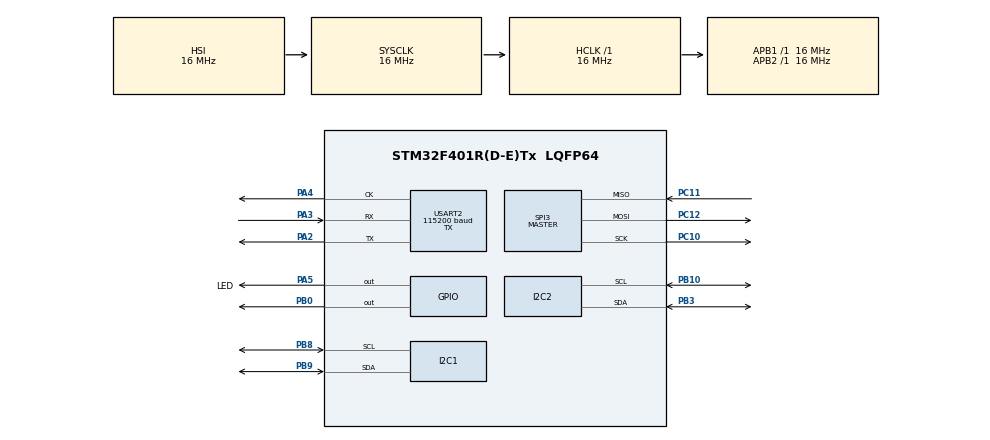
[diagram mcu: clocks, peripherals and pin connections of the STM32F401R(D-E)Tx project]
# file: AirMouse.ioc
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FREERTOS.Queues01=EventQueue,16,char,0,Dynamic,NULL,NULL
FREERTOS.Tasks01=readTask,25,512,StartReadTask,Default,NULL,Dynamic,NULL,NULL;commandTask,24,512,StartCommandTask,Default,NULL,Dynamic,NULL,NULL;SDTask,26,512,StartSDTask,Default,NULL,Dynamic,NULL,NULL
FREERTOS.Timers01=clickTimer,clickCallback,osTimerOnce,Default,NULL,Dynamic,NULL;timerZoom,zoomCallback,osTimerOnce,Default,NULL,Dynamic,NULL;moveTimer,moveTimerCallback,osTimerOnce,Default,NULL,Dynamic,NULL;altTabTimer,altTabCallback,osTimerOnce,Default,NULL,Dynamic,NULL
FREERTOS.configTIMER_TASK_PRIORITY=55
FREERTOS.configUSE_NEWLIB_REENTRANT=1
FREERTOS.configUSE_PREEMPTION=0
I2C1.I2C_Mode=I2C_Fast
I2C2.I2C_Mode=I2C_Fast
Mcu.Family=STM32F4
Mcu.Name=STM32F401R(D-E)Tx
Mcu.Package=LQFP64
NVIC.PriorityGroup=NVIC_PRIORITYGROUP_4
NVIC.TIM1_BRK_TIM9_IRQn=true\:15\:0\:false\:false\:true\:false\:false\:true\:true
NVIC.TimeBase=TIM1_BRK_TIM9_IRQn
NVIC.TimeBaseIP=TIM9
PA2.Mode=Synchronous
PA2.Signal=USART2_TX
PA3.Mode=Synchronous
PA3.Signal=USART2_RX
PA4.Mode=Synchronous
PA4.Signal=USART2_CK
PA5.GPIO_Label=LED
PA5.Signal=GPIO_Output
PB0.Signal=GPIO_Output
PB10.Mode=I2C
PB10.Signal=I2C2_SCL
PB3.Mode=I2C
PB3.Signal=I2C2_SDA
PB8.Mode=I2C
PB8.Signal=I2C1_SCL
PB9.Mode=I2C
PB9.Signal=I2C1_SDA
PC10.Mode=Full_Duplex_Master
PC10.Signal=SPI3_SCK
PC11.Mode=Full_Duplex_Master
PC11.Signal=SPI3_MISO
PC12.Mode=Full_Duplex_Master
PC12.Signal=SPI3_MOSI
ProjectManager.HeapSize=0x200
ProjectManager.StackSize=0x400
ProjectManager.TargetToolchain=STM32CubeIDE
RCC.AHBFreq_Value=16000000
RCC.APB1Freq_Value=16000000
RCC.APB2Freq_Value=16000000
RCC.CortexFreq_Value=16000000
RCC.HSE_VALUE=25000000
RCC.HSI_VALUE=16000000
RCC.LSE_VALUE=32768
RCC.SYSCLKFreq_VALUE=16000000
RCC.VCOOutputFreq_Value=192000000
SPI3.Direction=SPI_DIRECTION_2LINES
SPI3.Mode=SPI_MODE_MASTER
SPI3.VirtualType=VM_MASTER
USART2.BaudRate=115200
USART2.Mode=MODE_TX
USART2.VirtualMode=VM_SYNC
VP_FATFS_VS_Generic.Mode=User_defined
VP_FREERTOS_VS_CMSIS_V2.Mode=CMSIS_V2
VP_SYS_VS_tim9.Mode=TIM9
board=custom

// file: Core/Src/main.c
/* USER CODE BEGIN Header */
/**
 ******************************************************************************
 * @file           : main.c
 * @brief          : Main program body
 ******************************************************************************
 * @attention
 *
 * Copyright (c) 2022 STMicroelectronics.
 * All rights reserved.
 *
 * This software is licensed under terms that can be found in the LICENSE file
 * in the root directory of this software component.
 * If no LICENSE file comes with this software, it is provided AS-IS.
 *
 ******************************************************************************
 */
/* USER CODE END Header */
#include "main.h"
#include "cmsis_os.h"
#include "fatfs.h"
#include "i2c.h"
#include "spi.h"
#include "usart.h"
#include "gpio.h"

/* USER CODE BEGIN Includes */
#include "mpu6050.h"
#include "ds3231.h"
#include "File_Handling_RTOS.h"
#include "printf.h"
/* USER CODE END Includes */

/* USER CODE BEGIN PV */

/* Variables of the two MPU6050 on index hand and thumb */
MPU6050 mpu_ind;
MPU6050 mpu_pol;

/* Useful variables for file management declared in File_Handling_RTOS.c */
extern FIL fil; // File
extern UINT br, bw;  // File read/write count

/* USER CODE END PV */

void SystemClock_Config(void);
void MX_FREERTOS_Init(void);

int main(void)
{

  /* MCU Configuration--------------------------------------------------------*/

  /* Reset of all peripherals, Initializes the Flash interface and the Systick. */
  HAL_Init();

  /* Configure the system clock */
  SystemClock_Config();

  /* Initialize all configured peripherals */
  MX_GPIO_Init();
  MX_I2C1_Init();
  MX_USART2_Init();
  MX_I2C2_Init();
  MX_SPI3_Init();
  MX_FATFS_Init();
  /* USER CODE BEGIN 2 */

	/* Wait for system inizialization */
	HAL_Delay(2000);
	/* Mount the SD card */
	while (Mount_SD("/") != FR_OK);
	/* Initialize the DS3231 RTC on I2C2 */
	while (rtc_init(&hi2c2) != DS3231_OK);
	/* Initialize the MPU6050 on index hand on I2C1 */
	while (MPU6050_Init(&hi2c1, &mpu_ind, MPU6050_Device_0,
			MPU6050_Accelerometer_16G, MPU6050_Gyroscope_250s)
			!= MPU6050_Result_Ok);
	/* Initialize the MPU6050 on thumb on I2C1 */
	while (MPU6050_Init(&hi2c1, &mpu_pol, MPU6050_Device_1,
			MPU6050_Accelerometer_16G, MPU6050_Gyroscope_250s)
			!= MPU6050_Result_Ok);
	/* Get the current time from RTC and create a log file named as "dd_mm_yy.TXT" */
	date_time_t datetime;
	rtc_get_date_time(&datetime);
	char filename[50];
	sprintf(filename, "%d_%d_%d.TXT", datetime.date, datetime.month, datetime.year);
	while (Create_File(filename) != FR_OK);
	/* Open the file created for command log on SD card */
	while (f_open(&fil, filename, FA_OPEN_APPEND | FA_WRITE) != FR_OK) {
		char buf[60];
		sprintf(buf, "ERROR!!! *%s* does not exists\n\n", filename);
		HAL_USART_Transmit(&husart2, (uint8_t*) buf, sizeof(char) * strlen(buf),
		HAL_MAX_DELAY);
	}
	/* Turn on the pin on MCU in order to nofity the correct end of the inizialization phase */
	HAL_GPIO_WritePin(LED_GPIO_Port, LED_Pin, 1);

  /* USER CODE END 2 */

  /* Init scheduler */
  osKernelInitialize();  /* Call init function for freertos objects (in freertos.c) */
  MX_FREERTOS_Init();

  /* Start scheduler */
  osKernelStart();

  /* We should never get here as control is now taken by the scheduler */
  /* Infinite loop */
	while (1) {

	}
}

void SystemClock_Config(void)
{
  RCC_OscInitTypeDef RCC_OscInitStruct = {0};
  RCC_ClkInitTypeDef RCC_ClkInitStruct = {0};

  /** Configure the main internal regulator output voltage
  */
  __HAL_RCC_PWR_CLK_ENABLE();
  __HAL_PWR_VOLTAGESCALING_CONFIG(PWR_REGULATOR_VOLTAGE_SCALE2);

  /** Initializes the RCC Oscillators according to the specified parameters
  * in the RCC_OscInitTypeDef structure.
  */
  RCC_OscInitStruct.OscillatorType = RCC_OSCILLATORTYPE_HSI;
  RCC_OscInitStruct.HSIState = RCC_HSI_ON;
  RCC_OscInitStruct.HSICalibrationValue = RCC_HSICALIBRATION_DEFAULT;
  RCC_OscInitStruct.PLL.PLLState = RCC_PLL_NONE;
  if (HAL_RCC_OscConfig(&RCC_OscInitStruct) != HAL_OK)
  {
    Error_Handler();
  }

  /** Initializes the CPU, AHB and APB buses clocks
  */
  RCC_ClkInitStruct.ClockType = RCC_CLOCKTYPE_HCLK|RCC_CLOCKTYPE_SYSCLK
                              |RCC_CLOCKTYPE_PCLK1|RCC_CLOCKTYPE_PCLK2;
  RCC_ClkInitStruct.SYSCLKSource = RCC_SYSCLKSOURCE_HSI;
  RCC_ClkInitStruct.AHBCLKDivider = RCC_SYSCLK_DIV1;
  RCC_ClkInitStruct.APB1CLKDivider = RCC_HCLK_DIV1;
  RCC_ClkInitStruct.APB2CLKDivider = RCC_HCLK_DIV1;

  if (HAL_RCC_ClockConfig(&RCC_ClkInitStruct, FLASH_LATENCY_0) != HAL_OK)
  {
    Error_Handler();
  }
}

void HAL_TIM_PeriodElapsedCallback(TIM_HandleTypeDef *htim)
{
  if (htim->Instance == TIM9) {
    HAL_IncTick();
  }
}

void Error_Handler(void)
{
	__disable_irq();
	while (1) {
	}
}

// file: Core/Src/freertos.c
/* USER CODE BEGIN Header */
/**
 ******************************************************************************
 * File Name          : freertos.c
 * Description        : Code for freertos applications
 ******************************************************************************
 * @attention
 *
 * Copyright (c) 2022 STMicroelectronics.
 * All rights reserved.
 *
 * This software is licensed under terms that can be found in the LICENSE file
 * in the root directory of this software component.
 * If no LICENSE file comes with this software, it is provided AS-IS.
 *
 ******************************************************************************
 */
/* USER CODE END Header */

#include "FreeRTOS.h"
#include "task.h"
#include "main.h"
#include "cmsis_os.h"

/* USER CODE BEGIN Includes */
#include "mpu6050.h"
#include "string.h"
#include "printf.h"
#include "math.h"
#include "ds3231.h"
#include "File_Handling_RTOS.h"
/* USER CODE END Includes */

/* USER CODE BEGIN Variables */

/* Variables of the two MPU6050 on index hand and thumb declared in main.c */
extern MPU6050 mpu_ind;
extern MPU6050 mpu_pol;

/* Extern variables for I2C and USART ports */
extern USART_HandleTypeDef husart2;
extern I2C_HandleTypeDef hi2c1;

/* Useful variables for file management declared in File_Handling_RTOS.c */
extern FIL fil; // File
extern UINT br, bw;  // File read/write count

/******* ALT + TAB ********/
/* ALT_TAB_flag is 1 when we are in ALT+TAB modality (vertical hand), 0 otherwise. It is used
 * when we want to know if we are in ALT+TAB mode or not. */
uint8_t ALT_TAB_flag = 0;
/* ALT_TAB_move is always 1, except when we pass from ALT+TAB mode to normal mode. It is used
 * when we don't want to move our mouse when we pass from ALT+TAB mode to normal mode. */
uint8_t ALT_TAB_move = 1;

/********* CLICKS *********/
/* numClick is an integer variable that counts the number of clicks occurred in a period. */
uint8_t numClick = 0;
/* clickFlag is 1 when we are in click phase and we don't want to move our mouse, 0 otherwise. */
uint8_t clickFlag = 0;
/* moveFlag is 1 when we have already detected 1 click and we don't want to move our mouse
 * because there is a chance for a double click */
uint8_t moveFlag = 1;

/******** ZOOM ********/
/* numZoom is an integer variable that counts the number of zoom command occurred in a period. */
uint8_t numZoom = 0;
/* zoomFlag is 1 when we are in zoom phase and we don't want to move our mouse, 0 otherwise. */
uint8_t zoomFlag = 0;

/* This variables is setted by the click and zoom callbacks to log click, double click, zoom in and
 * zoom out.
 * logEvent=1 --> log a click
 * logEvent=2 --> log a double click
 * logEvent=3 --> log a zoom in
 * logEvent=4 --> log a zoom out
 * */
int8_t logEvent = -1;

/* Log's string length */
#define LOG_STRING_LEN 200

/* USER CODE END Variables */
/* Definitions for readTask */
osThreadId_t readTaskHandle;
const osThreadAttr_t readTask_attributes = {
  .name = "readTask",
  .stack_size = 512 * 4,
  .priority = (osPriority_t) osPriorityNormal1,
};
/* Definitions for commandTask */
osThreadId_t commandTaskHandle;
const osThreadAttr_t commandTask_attributes = {
  .name = "commandTask",
  .stack_size = 512 * 4,
  .priority = (osPriority_t) osPriorityNormal,
};
/* Definitions for SDTask */
osThreadId_t SDTaskHandle;
const osThreadAttr_t SDTask_attributes = {
  .name = "SDTask",
  .stack_size = 512 * 4,
  .priority = (osPriority_t) osPriorityNormal2,
};
/* Definitions for EventQueue */
osMessageQueueId_t EventQueueHandle;
const osMessageQueueAttr_t EventQueue_attributes = {
  .name = "EventQueue"
};
/* Definitions for clickTimer */
osTimerId_t clickTimerHandle;
const osTimerAttr_t clickTimer_attributes = {
  .name = "clickTimer"
};
/* Definitions for timerZoom */
osTimerId_t timerZoomHandle;
const osTimerAttr_t timerZoom_attributes = {
  .name = "timerZoom"
};
/* Definitions for moveTimer */
osTimerId_t moveTimerHandle;
const osTimerAttr_t moveTimer_attributes = {
  .name = "moveTimer"
};
/* Definitions for altTabTimer */
osTimerId_t altTabTimerHandle;
const osTimerAttr_t altTabTimer_attributes = {
  .name = "altTabTimer"
};

/* USER CODE BEGIN FunctionPrototypes */

/* This function is used to log a relative movement of the mouse with x and y as values in their respective axes.*/
void logMovement(int x, int y) {
	char log[LOG_STRING_LEN];
	/* Get the current timestamp and print the string */
	date_time_t datetime;
	rtc_get_date_time(&datetime);
	sprintf(log,
			"[%d-%d-%d - %d:%d:%d]\tEVENT: relative movement x:%d y:%d\t========\tAcc. Values: {T: %.2f, %.2f, %.2f, %.2f, %.2f, %.2f || I: %.2f, %.2f, %.2f, %.2f, %.2f, %.2f}\n",
			datetime.date, datetime.month, datetime.year, datetime.hours,
			datetime.minutes, datetime.seconds, x, y, mpu_pol.accelerometer_X,
			mpu_pol.accelerometer_Y, mpu_pol.accelerometer_Z,
			mpu_pol.gyroscope_X, mpu_pol.gyroscope_Y, mpu_pol.gyroscope_Z,
			mpu_ind.accelerometer_X, mpu_ind.accelerometer_Y,
			mpu_ind.accelerometer_Z, mpu_ind.gyroscope_X, mpu_ind.gyroscope_Y,
			mpu_ind.gyroscope_Z);
	/* Insert the string into the queue */
	if (osMessageQueuePut(EventQueueHandle, (void*) &log, 0U, 0U) != osOK) {
		HAL_USART_Transmit(&husart2, (uint8_t*) "QUEUE INSERT ERROR\n",
				sizeof(char) * strlen("QUEUE INSERT ERROR\n"), HAL_MAX_DELAY);
	}
}

/*
 * This function is used to log a gesture codified with an event parameter according to the values:
 * 1 -> left click
 * 2 -> double click
 * 3 -> zoom in
 * 4 -> zoom out
 * 5 -> ALT+TAB
 * 6 -> ALT+TAB windows switch
 * 7 -> ALT+TAB release
 * */
void logGestures(int event) {
	char log[LOG_STRING_LEN];
	date_time_t datetime;
	rtc_get_date_time(&datetime);
	char eventString[50];

	if (event == 1) {
		sprintf(eventString, "left click");
	} else if (event == 2) {
		sprintf(eventString, "double click");
	} else if (event == 3) {
		sprintf(eventString, "zoom in");
	} else if (event == 4) {
		sprintf(eventString, "zoom out");
	} else if (event == 5) {
		sprintf(eventString, "ALT+TAB");
	} else if (event == 6) {
		sprintf(eventString, "ALT+TAB Switch");
	} else if (event == 7) {
		sprintf(eventString, "ALT+TAB Release");
	}

	sprintf(log,
			"[%d-%d-%d - %d:%d:%d]\tEVENT: %s\t========\tAcc. Values: {T: %.2f, %.2f, %.2f, %.2f, %.2f, %.2f || I: %.2f, %.2f, %.2f, %.2f, %.2f, %.2f}\n",
			datetime.date, datetime.month, datetime.year, datetime.hours,
			datetime.minutes, datetime.seconds, eventString,
			mpu_pol.accelerometer_X, mpu_pol.accelerometer_Y,
			mpu_pol.accelerometer_Z, mpu_pol.gyroscope_X, mpu_pol.gyroscope_Y,
			mpu_pol.gyroscope_Z, mpu_ind.accelerometer_X,
			mpu_ind.accelerometer_Y, mpu_ind.accelerometer_Z,
			mpu_ind.gyroscope_X, mpu_ind.gyroscope_Y, mpu_ind.gyroscope_Z);
	/* Insert the log string into the Queue */
	if (osMessageQueuePut(EventQueueHandle, (void*) &log, 0U, 0U) != osOK) {
		HAL_USART_Transmit(&husart2, (uint8_t*) "QUEUE INSERT ERROR\n",
				sizeof(char) * strlen("QUEUE INSERT ERROR\n"), HAL_MAX_DELAY);
	}

}
/* USER CODE END FunctionPrototypes */

void StartReadTask(void *argument);
void StartCommandTask(void *argument);
void StartSDTask(void *argument);
void clickCallback(void *argument);
void zoomCallback(void *argument);
void moveTimerCallback(void *argument);
void altTabCallback(void *argument);

void MX_FREERTOS_Init(void); /* (MISRA C 2004 rule 8.1) */

void MX_FREERTOS_Init(void) {

  /* Create the timer(s) */
  /* creation of clickTimer */
  clickTimerHandle = osTimerNew(clickCallback, osTimerOnce, NULL, &clickTimer_attributes);

  /* creation of timerZoom */
  timerZoomHandle = osTimerNew(zoomCallback, osTimerOnce, NULL, &timerZoom_attributes);

  /* creation of moveTimer */
  moveTimerHandle = osTimerNew(moveTimerCallback, osTimerOnce, NULL, &moveTimer_attributes);

  /* creation of altTabTimer */
  altTabTimerHandle = osTimerNew(altTabCallback, osTimerOnce, NULL, &altTabTimer_attributes);

  /* Create the queue(s) */
  /* creation of EventQueue */
  EventQueueHandle = osMessageQueueNew (16, sizeof(char)* LOG_STRING_LEN
		  , &EventQueue_attributes);

  /* Create the thread(s) */
  /* creation of readTask */
  readTaskHandle = osThreadNew(StartReadTask, NULL, &readTask_attributes);

  /* creation of commandTask */
  commandTaskHandle = osThreadNew(StartCommandTask, NULL, &commandTask_attributes);

  /* creation of SDTask */
  SDTaskHandle = osThreadNew(StartSDTask, NULL, &SDTask_attributes);

}

void StartReadTask(void *argument)
{
  /* USER CODE BEGIN StartReadTask */
	/* Infinite loop */
	for (;;) {
		/* Read the values from the index hand's accelerometer */
		MPU6050_ReadGyroscope(&hi2c1, &mpu_ind);
		MPU6050_ReadAccelerometer(&hi2c1, &mpu_ind);
		/* Read the values from the thumb's accelerometer */
		MPU6050_ReadGyroscope(&hi2c1, &mpu_pol);
		MPU6050_ReadAccelerometer(&hi2c1, &mpu_pol);

		osDelay(25);
	}
  /* USER CODE END StartReadTask */
}

void StartCommandTask(void *argument)
{
  /* USER CODE BEGIN StartCommandTask */

	char command[100];

	/* Infinite loop */
	for (;;) {
		/* If there are clicks, double clicks, zoom in/out, then log it */
		if (logEvent != -1) {
			logGestures(logEvent);
			logEvent = -1;
		}
		/* Initial click detecting */
		if (mpu_ind.gyroscope_X <= -240 && mpu_ind.accelerometer_Z < 0
				&& clickFlag == 0 && ALT_TAB_flag == 0) {
			clickFlag = 1;
			/* One click detected */
		} else if (clickFlag == 1 && mpu_ind.gyroscope_X >= 240) {
			numClick += 1;
			clickFlag = 0;
			moveFlag = 0;
			osTimerStart(moveTimerHandle, 60);
			osTimerStart(clickTimerHandle, 600);
			/* Initial Zoom In detecting */
		} else if (mpu_pol.gyroscope_X <= -240 && mpu_pol.accelerometer_Z < 0
				&& zoomFlag == 0 && ALT_TAB_flag == 0 && ALT_TAB_move == 1) {
			zoomFlag = 1;
			/* Zoom In detected */
		} else if (zoomFlag == 1 && mpu_pol.gyroscope_X >= 240) {
			numZoom += 1;
			zoomFlag = 0;
			osTimerStart(timerZoomHandle, 600);
			/* Alt+Tab detected */
		} else if (mpu_pol.gyroscope_Y >= 230 && ALT_TAB_flag == 0
				&& zoomFlag == 0 && numZoom == 0) {

			sprintf(command, "xdotool keydown alt key Tab\n");
			HAL_USART_Transmit(&husart2, (uint8_t*) command,
					sizeof(char) * strlen(command), HAL_MAX_DELAY);
			logGestures(5);
			ALT_TAB_flag = 1;
			ALT_TAB_move = 0;
			osTimerStart(altTabTimerHandle, 120);
			/* Switch windows in Alt+Tab modality */
		} else if (mpu_ind.gyroscope_X <= -240 && ALT_TAB_flag == 1
				&& ALT_TAB_move == 1) {
			sprintf(command,
					"xdotool keydown Tab && sleep 0.1 && xdotool keyup Tab\n");
			HAL_USART_Transmit(&husart2, (uint8_t*) command,
					sizeof(char) * strlen(command), HAL_MAX_DELAY);
			logGestures(6);
			ALT_TAB_move = 0;
			osTimerStart(altTabTimerHandle, 600);
		}
		/* Release Alt+Tab modality */
		else if (ALT_TAB_flag == 1 && mpu_pol.gyroscope_Y <= -230) {
			sprintf(command, "xdotool keyup alt\n");
			HAL_USART_Transmit(&husart2, (uint8_t*) command,
					sizeof(char) * strlen(command), HAL_MAX_DELAY);
			logGestures(7);
			ALT_TAB_flag = 0;
			ALT_TAB_move = 0;
			osTimerStart(altTabTimerHandle, 600);
		}
		/* Mouse Movements */
		else if (numClick == 0 && clickFlag == 0 && moveFlag == 1
				&& ALT_TAB_flag == 0 && zoomFlag == 0 && numZoom == 0
				&& ALT_TAB_move == 1) {

			int m_x = (-(int) mpu_ind.accelerometer_X) * 3;
			int m_y = -((int) mpu_ind.accelerometer_Y) * 2;
			/* Mouse Movements */
			if (fabs(m_x) + fabs(m_y) >= 10) {

				sprintf(command, "xdotool mousemove_relative -- %d %d\n", m_x,
						m_y);
				HAL_USART_Transmit(&husart2, (uint8_t*) command,
						sizeof(char) * strlen(command), HAL_MAX_DELAY);
				logMovement(m_x, m_y);
			}
		}

		osDelay(25);
	}
  /* USER CODE END StartCommandTask */
}

void StartSDTask(void *argument)
{
  /* USER CODE BEGIN StartSDTask */
	/* Infinite loop */
	for (;;) {
		char buffer[LOG_STRING_LEN];

		for (int i = 0; i < 4; i++) {
			if (osMessageQueueGet(EventQueueHandle, (void*) &buffer, NULL, 0U)
					== osOK) {
				/* Writing text */
				if (f_write(&fil, buffer, strlen(buffer), &bw) != FR_OK) {
					HAL_USART_Transmit(&husart2,
							(uint8_t*) "ERROR IN WRITING FILE\n",
							sizeof(char) * strlen("ERROR IN WRITING FILE\n"),
							HAL_MAX_DELAY);
				}

			} else {
				break;
			}
		}
		f_sync(&fil);

		osDelay(100);
	}
  /* USER CODE END StartSDTask */
}

/* clickCallback function */
void clickCallback(void *argument)
{
  /* USER CODE BEGIN clickCallback */
	char value[100];
	if (numClick >= 2) {
		sprintf(value, "xdotool click --repeat 2 1\n");

	} else if (numClick == 1) {
		sprintf(value, "xdotool click 1\n");
	}
	HAL_USART_Transmit(&husart2, (uint8_t*) value, sizeof(char) * strlen(value),
	HAL_MAX_DELAY);
	logEvent = numClick;
	numClick = 0;

  /* USER CODE END clickCallback */
}

/* zoomCallback function */
void zoomCallback(void *argument)
{
  /* USER CODE BEGIN zoomCallback */
	char value[100];

	if (numZoom >= 2) {
		sprintf(value, "xdotool key Ctrl+minus\n");
		logEvent = 4;
	} else if (numZoom == 1) {
		sprintf(value, "xdotool key Ctrl+plus\n");
		logEvent = 3;
	}
	HAL_USART_Transmit(&husart2, (uint8_t*) value, sizeof(char) * strlen(value),
	HAL_MAX_DELAY);

	numZoom = 0;
  /* USER CODE END zoomCallback */
}

/* moveTimerCallback function */
void moveTimerCallback(void *argument)
{
  /* USER CODE BEGIN moveTimerCallback */
	moveFlag = 1;
  /* USER CODE END moveTimerCallback */
}

/* altTabCallback function */
void altTabCallback(void *argument)
{
  /* USER CODE BEGIN altTabCallback */
	ALT_TAB_move = 1;
  /* USER CODE END altTabCallback */
}
